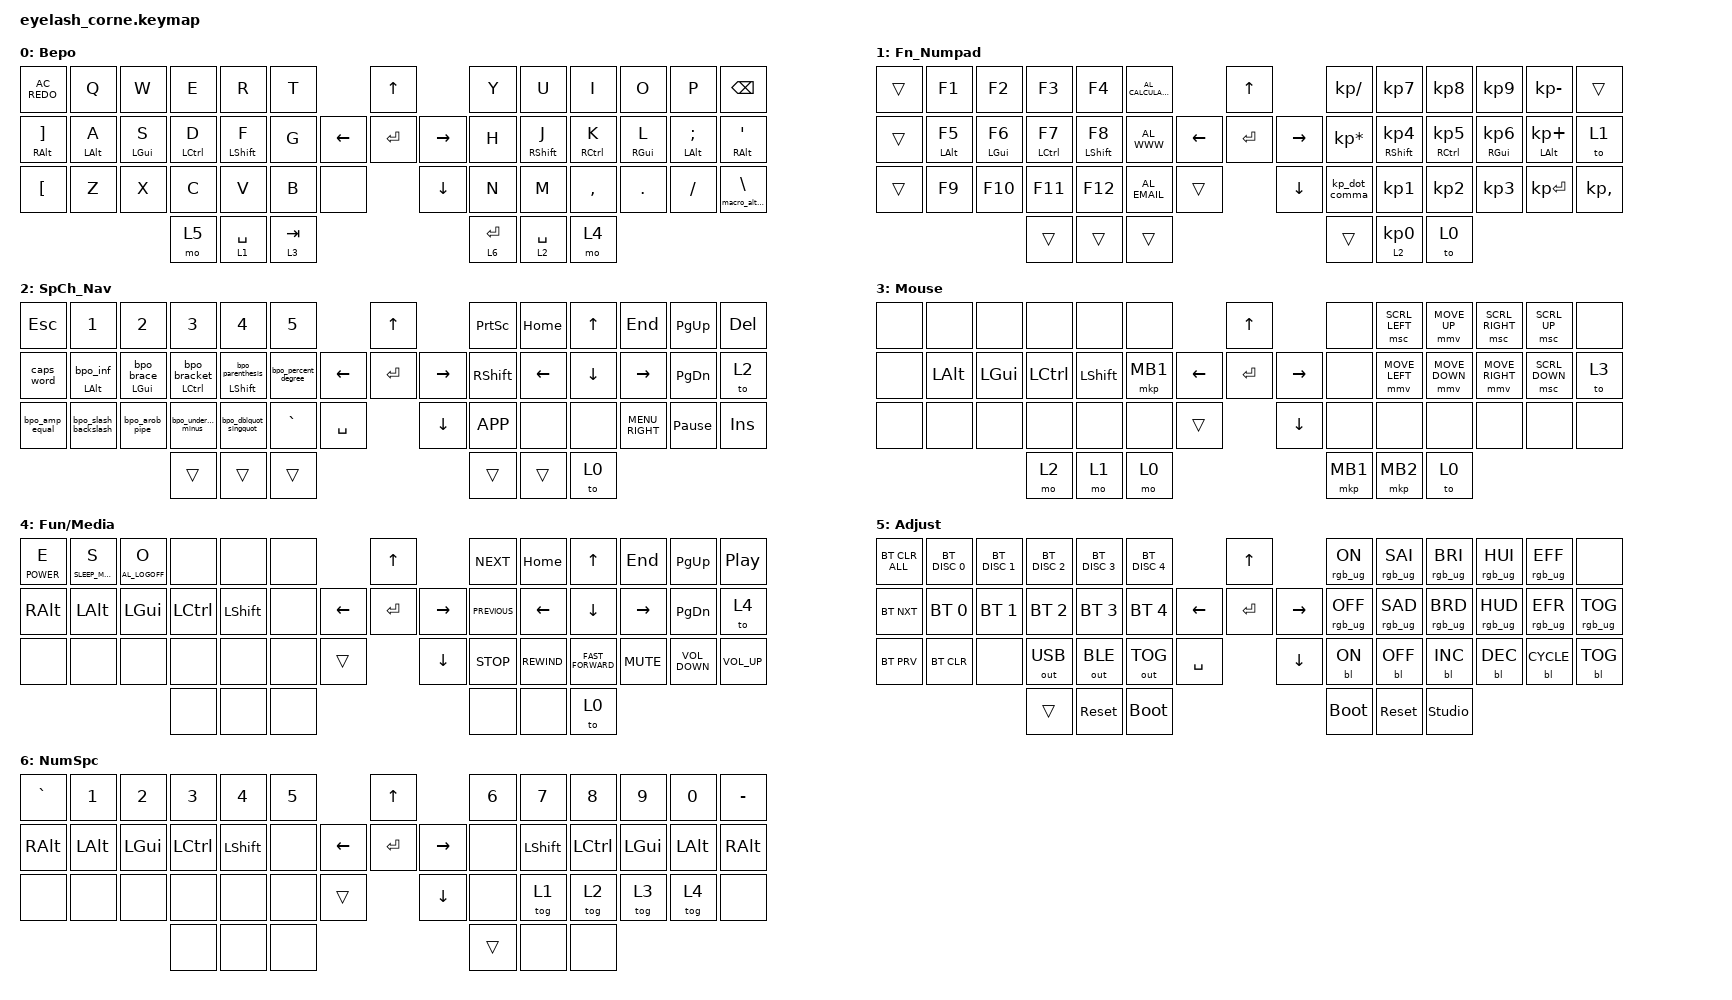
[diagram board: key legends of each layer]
// #define ZMK_POINTING_DEFAULT_MOVE_VAL 1200  // 600
// #define ZMK_POINTING_DEFAULT_SCRL_VAL 25    // 10

#define ZMK_POINTING_DEFAULT_SCRL_VAL 30    // default: 10

#include <input/processors.dtsi>
#include <zephyr/dt-bindings/input/input-event-codes.h>
#include <dt-bindings/zmk/mouse.h>
#include <behaviors.dtsi>
#include <dt-bindings/zmk/backlight.h>
#include <dt-bindings/zmk/bt.h>
#include <dt-bindings/zmk/keys.h>
#include <dt-bindings/zmk/outputs.h>
#include <dt-bindings/zmk/pointing.h>
#include <dt-bindings/zmk/rgb.h>

#define QTY_HR 0    // QWERTY w/ HRM
#define QTY 1       // QWERTY
#define CMK_HR 2    // Colemak w/ HRM
#define CMK 3       // Colemak
#define CMR 4       // Colemak Reversed
#define TRN 5       // Transparent (basic querty)
#define LOW 6       // Lower
#define RSE 7       // Raise
#define ADJ 8       // Adjust (keymap, bluetooth, output, backlight control)
#define FUN 9       // Function/Media
#define MAX 10      // Maxtend
#define MSE 11      // Mouse
#define NSP 12      // NumSpace
#define NTB 13      // NumTab (currently unused)
#define AGR 14      // AltGr (for Windows Umlauts via Alt+Numpad)
#define AGS 15      // AltGr+Shift (for Windows uppercase Umlauts via Alt+Numpad)
#define AJ2 16      // Adjust 2 = Adjust+LShift (additional control functions)

// &mmv_input_listener { input-processors = <&zip_xy_scaler 2 1>; };
// &msc_input_listener { input-processors = <&zip_scroll_scaler 2 1>; };
// &msc {
//     acceleration-exponent = <1>;      // 0
//     time-to-max-speed-ms = <100>;     // 300
//     delay-ms = <0>;                   // 0
// };
// &mmv {
//     time-to-max-speed-ms = <500>;
//     acceleration-exponent = <1>;
//     trigger-period-ms = <16>;
// };

&lt { quick-tap-ms = <200>; };

&caps_word {
    continue-list = <UNDERSCORE BACKSPACE DELETE SEMI>;

    // SEMI is added here because QWERTY semicolon is letter 'O' in Colemak. Unfortunately, it doesn't automatically get shifted.
};

&mmv {
    delay-ms = <1>;
    acceleration-exponent = <2>;
    trigger-period-ms = <2>;
};

/ {
    behaviors {
        hml: hrmod_left {
            compatible = "zmk,behavior-hold-tap";
            #binding-cells = <2>;
            tapping-term-ms = <200>;
            flavor = "balanced";
            quick-tap-ms = <200>;
            require-prior-idle-ms = <100>;
            bindings = <&kp>, <&kp>;

            hold-trigger-key-positions = <7 8 9 10 11 12 22 23 24 25 26 27 36 37 38 39 40 41 44 45 46 47>;

            // these are all the right-side buttons
            // left-side thumb button for LOW/TAB also included, allowing Alt-TAB with left hand without tapping-term-ms delay.

            hold-trigger-on-release;
        };

        hmr: hrmod_right {
            compatible = "zmk,behavior-hold-tap";
            #binding-cells = <2>;
            tapping-term-ms = <200>;
            flavor = "balanced";
            quick-tap-ms = <200>;
            require-prior-idle-ms = <100>;
            bindings = <&kp>, <&kp>;

            hold-trigger-key-positions = <0 1 2 3 4 5 13 14 15 16 17 18 28 29 30 31 32 33 42 43 44 45>;

            // these are all the left-side buttons

            hold-trigger-on-release;
        };

        hll: hrlayer_left {
            compatible = "zmk,behavior-hold-tap";
            #binding-cells = <2>;
            tapping-term-ms = <200>;
            flavor = "balanced";
            quick-tap-ms = <200>;
            require-prior-idle-ms = <100>;
            bindings = <&mo>, <&kp>;

            hold-trigger-key-positions = <7 8 9 10 11 12 22 23 24 25 26 27 36 37 38 39 40 41 44 45 46 47>;

            // these are all the right-side buttons
            // left-side thumb button for LOW/TAB also included, allowing Alt-TAB with left hand without tapping-term-ms delay.

            hold-trigger-on-release;
        };

        hlr: hrlayer_right {
            compatible = "zmk,behavior-hold-tap";
            #binding-cells = <2>;
            tapping-term-ms = <200>;
            flavor = "balanced";
            quick-tap-ms = <200>;
            require-prior-idle-ms = <100>;
            bindings = <&mo>, <&kp>;

            hold-trigger-key-positions = <0 1 2 3 4 5 13 14 15 16 17 18 28 29 30 31 32 33 42 43 44 45>;

            // these are all the left-side buttons

            hold-trigger-on-release;
        };

        kp_dot_comma: kp_dot_comma {
            compatible = "zmk,behavior-mod-morph";
            label = "KP_DOT_COMMA";
            bindings = <&kp KP_DOT>, <&kp KP_COMMA>;

            #binding-cells = <0>;
            mods = <(MOD_LSFT|MOD_RSFT)>;
        };

        bpo_inf: bpo_inf {
            compatible = "zmk,behavior-mod-morph";
            label = "BPO_INF";
            bindings = <&kp RA(NUMBER_2)>, <&kp RA(NUMBER_3)>;

            #binding-cells = <0>;
            mods = <(MOD_LSFT|MOD_RSFT)>;
        };

        bpo_brace: bpo_brace {
            compatible = "zmk,behavior-mod-morph";
            label = "BPO_BRACE";
            bindings = <&kp RA(X)>, <&kp RA(C)>;

            #binding-cells = <0>;
            mods = <(MOD_LSFT|MOD_RSFT)>;
        };

        bpo_bracket: bpo_bracket {
            compatible = "zmk,behavior-mod-morph";
            label = "BPO_BRACKET";
            bindings = <&kp RA(NUMBER_4)>, <&kp RA(N5)>;

            #binding-cells = <0>;
            mods = <(MOD_LSFT|MOD_RSFT)>;
        };

        bpo_parenthesis: bpo_parenthesis {
            compatible = "zmk,behavior-mod-morph";
            label = "BPO_PARENTHESIS";
            bindings = <&kp NUMBER_4>, <&kp N5>;

            #binding-cells = <0>;
            mods = <(MOD_LSFT|MOD_RSFT)>;
        };

        hmrl_kp_lt: hmrl_kp_lt {
            compatible = "zmk,behavior-hold-tap";
            label = "HMRL_KP_LT";
            bindings = <&kp>, <&bpo_inf>;

            #binding-cells = <2>;
            tapping-term-ms = <200>;
        };

        hmrl_kp_brace: hmrl_kp_brace {
            compatible = "zmk,behavior-hold-tap";
            label = "HMRL_KP_BRACE";
            bindings = <&kp>, <&bpo_brace>;

            #binding-cells = <2>;
            tapping-term-ms = <200>;
        };

        hmrl_kp_bracket: hmrl_kp_bracket {
            compatible = "zmk,behavior-hold-tap";
            label = "HMRL_KP_BRACKET";
            bindings = <&kp>, <&bpo_bracket>;

            #binding-cells = <2>;
            tapping-term-ms = <200>;
        };

        hmrl_kp_parenthesis: hmrl_kp_parenthesis {
            compatible = "zmk,behavior-hold-tap";
            label = "HMRL_KP_PARENTHESIS";
            bindings = <&kp>, <&bpo_parenthesis>;

            #binding-cells = <2>;
            tapping-term-ms = <200>;
        };

        bpo_amp_equal: bpo_amp_equal {
            compatible = "zmk,behavior-mod-morph";
            label = "BPO_AMP_EQUAL";
            bindings = <&kp RA(E)>, <&kp MINUS>;

            #binding-cells = <0>;
            mods = <(MOD_LSFT|MOD_RSFT)>;
        };

        bpo_slash_backslash: bpo_slash_backslash {
            compatible = "zmk,behavior-mod-morph";
            label = "BPO_SLASH_BACKSLASH";
            bindings = <&kp N9>, <&kp RA(Z)>;

            #binding-cells = <0>;
            mods = <(MOD_LSFT|MOD_RSFT)>;
        };

        bpo_arob_pipe: bpo_arob_pipe {
            compatible = "zmk,behavior-mod-morph";
            label = "BPO_AROB_PIPE";
            bindings = <&kp N6>, <&kp RA(Q)>;

            #binding-cells = <0>;
            mods = <(MOD_LSFT|MOD_RSFT)>;
        };

        bpo_underscore_minus: bpo_underscore_minus {
            compatible = "zmk,behavior-mod-morph";
            label = "BPO_UNDERSCORE_MINUS";
            bindings = <&kp RA(SPACE)>, <&kp N8>;

            #binding-cells = <0>;
            mods = <(MOD_LSFT|MOD_RSFT)>;
        };

        bpo_dblquot_singquot: bpo_dblquot_singquot {
            compatible = "zmk,behavior-mod-morph";
            label = "BPO_DBLQUOT_SINGQUOT";
            bindings = <&kp N1>, <&kp RA(G)>;

            #binding-cells = <0>;
            mods = <(MOD_LSFT|MOD_RSFT)>;
        };

        Alttab_c_cedilla: Alttab_c_cedilla {
            compatible = "zmk,behavior-hold-tap";
            label = "ALTTAB_C_CEDILLA";
            bindings = <&macro_alt_tab>, <&kp>;

            #binding-cells = <2>;
            tapping-term-ms = <200>;
        };

        bpo_percent_degree: bpo_percent_degree {
            compatible = "zmk,behavior-mod-morph";
            label = "BPO_PERCENT_DEGREE";
            bindings = <&kp EQUAL>, <&kp RS(MINUS)>;

            #binding-cells = <0>;
            mods = <(MOD_LSFT|MOD_RSFT)>;
        };
    };

    //  key positions (for hold-trigger-key-positions):
    //  (0) TAB       (1))Q     (2) W     (3) E     (4) R        (5) T                      (6) up               (7) Y          (8) U     (9) I     (10) O    (11) P     (12) BSPC
    //  (13) MAX BSPC (14) A    (15) S    (16) D    (17) F       (18) G         (19) left  (20) mid  (21) right  (22) H         (23) J     (24) K     (25) L    (26) SEMI  (27) APOS
    //  (28) LSHFT    (29) Z    (30) X    (31) C    (32) V       (33) B         (34) mute  (35) down             (36) N         (37) M     (38) COMMA (39) DOT  (40) SLASH (41) RSHFT ENTER
    //                                    (42) ADJ  (43) LOW TAB (44) MSE SPACE                                  (45) NSP SPACE (46) RSE   (47) FUN
    // &kp TAB    &kp Q  &kp W      &kp E     &kp R  &kp T                              &kp UP                &kp Y        &kp U  &kp I      &kp O    &kp P     &kp BSPC
    // &td0       &kp A  &kp S      &kp D     &kp F  &kp G                    &kp LEFT  &kp ENTER  &kp RIGHT  &kp H        &kp J  &kp K      &kp L    &kp SEMI  &kp SQT
    // &kp LCTRL  &kp Z  &kp X      &kp C     &kp V  &kp B       &kp SPACE              &kp DOWN              &kp N        &kp M  &kp COMMA  &kp DOT  &kp FSLH  &kp ESC
    //                              &kp LGUI  &mo 1  &lt 3 SPACE                                              &lt 3 ENTER  &mo 2  &kp RALT

    macros {
        macro_alt_tab: macro_alt_tab {
            compatible = "zmk,behavior-macro";
            #binding-cells = <0>;
            bindings =
                <&macro_press>,
                <&kp LALT>,
                <&macro_tap>,
                <&kp TAB>,
                <&macro_pause_for_release>,
                <&macro_release>,
                <&kp LEFT_ALT>;

            label = "MACRO_ALT_TAB";
        };
    };

    combos {
        compatible = "zmk,combos";

        combo_esc_q_w {
            require-prior-idle-ms = <100>;
            timeout-ms = <100>;
            key-positions = <1 2>;
            bindings = <&kp ESC>;
        };

        combo_enter_semi_comma {
            require-prior-idle-ms = <100>;
            timeout-ms = <100>;
            key-positions = <26 27>;
            bindings = <&kp ENTER>;
        };

        combo_enter_j_k_l {
            require-prior-idle-ms = <100>;
            timeout-ms = <100>;
            key-positions = <23 24 25>;
            bindings = <&kp ENTER>;
        };

        combo_del_p_backdel {
            bindings = <&kp DELETE>;
            key-positions = <12 11>;
        };

        combo_esc_w_e_r {
            bindings = <&kp ESC>;
            key-positions = <2 3 4>;
            timeout-ms = <100>;
            require-prior-idle-ms = <100>;
        };

        combo_esc_u_i_o {
            bindings = <&kp ESC>;
            key-positions = <8 9 10>;
            timeout-ms = <100>;
            require-prior-idle-ms = <100>;
        };

        combo_cut_z_x {
            bindings = <&kp LC(C)>;
            key-positions = <29 30>;
            timeout-ms = <100>;
            require-prior-idle-ms = <100>;
        };

        combo_copy_x_c {
            bindings = <&kp LC(H)>;
            key-positions = <30 31>;
            timeout-ms = <100>;
            require-prior-idle-ms = <100>;
        };

        combo_paste_c_v {
            bindings = <&kp LC(U)>;
            key-positions = <31 32>;
            timeout-ms = <100>;
            require-prior-idle-ms = <100>;
        };

        combo_toggleMaj_Ctrl_Esc {
            bindings = <&kp LC(CAPS)>;
            key-positions = <28 41>;
            timeout-ms = <100>;
            require-prior-idle-ms = <100>;
        };

        Reset {
            bindings = <&kp C_RESET>;
            key-positions = <0 5>;
            timeout-ms = <100>;
            require-prior-idle-ms = <100>;
            layers = <4>;
        };

        combo_enter_s_d_f {
            bindings = <&kp ENTER>;
            key-positions = <15 16 17>;
            timeout-ms = <100>;
            require-prior-idle-ms = <100>;
        };
    };

    keymap {
        compatible = "zmk,keymap";

        bepo_layer {
            display-name = "Bepo";
            bindings = <
&kp C_AC_REDO                 &kp Q        &kp W            &kp E         &kp R              &kp T                         &kp UP                &kp Y        &kp U         &kp I         &kp O             &kp P           &kp BSPC
&hml RIGHT_ALT RIGHT_BRACKET  &hml LALT A  &hml LEFT_GUI S  &hml LCTRL D  &hml LEFT_SHIFT F  &kp G               &kp LEFT  &kp ENTER  &kp RIGHT  &kp H        &hmr RSHFT J  &hmr RCTRL K  &hmr RIGHT_GUI L  &hmr LALT SEMI  &hmr RIGHT_ALT APOS
&kp LEFT_BRACKET              &kp Z        &kp X            &kp C         &kp V              &kp B      &none              &kp DOWN              &kp N        &kp M         &kp COMMA     &kp PERIOD        &kp SLASH       &Alttab_c_cedilla 0 BACKSLASH
                                                            &mo 5         &lt 1 SPACE        &lt 3 TAB                                           &lt 6 ENTER  &lt 2 SPACE   &mo 4
            >;
        };

        Function_and_numpad {
            display-name = "Fn_Numpad";
            bindings = <
&trans  &kp F1            &kp F2            &kp F3         &kp F4              &kp C_AL_CALCULATOR                      &kp UP                &kp KP_SLASH     &kp KP_N7               &kp KP_N8         &kp KP_N9             &kp KP_MINUS       &trans
&trans  &hml LEFT_ALT F5  &hml LEFT_GUI F6  &hml LCTRL F7  &hml LEFT_SHIFT F8  &kp C_AL_WWW                   &kp LEFT  &kp ENTER  &kp RIGHT  &kp KP_ASTERISK  &hmr RIGHT_SHIFT KP_N4  &hmr RCTRL KP_N5  &hmr RIGHT_GUI KP_N6  &hmr LALT KP_PLUS  &to 1
&trans  &kp F9            &kp F10           &kp F11        &kp F12             &kp C_AL_EMAIL       &trans              &kp DOWN              &kp_dot_comma    &kp KP_N1               &kp KP_N2         &kp KP_N3             &kp KP_ENTER       &kp KP_COMMA
                                            &trans         &trans              &trans                                                         &trans           &lt 2 KP_N0             &to 0
            >;
        };

        Special_char_and_nav {
            display-name = "SpCh_Nav";
            bindings = <
&kp ESC         &kp N1                  &kp N2                     &kp N3                    &kp N4                             &kp N5                                      &kp UP                &kp PRINTSCREEN  &kp HOME  &kp UP_ARROW  &kp END           &kp PAGE_UP      &kp DEL
&caps_word      &hmrl_kp_lt LEFT_ALT 0  &hmrl_kp_brace LEFT_GUI 0  &hmrl_kp_bracket LCTRL 0  &hmrl_kp_parenthesis LEFT_SHIFT 0  &bpo_percent_degree               &kp LEFT  &kp ENTER  &kp RIGHT  &kp RIGHT_SHIFT  &kp LEFT  &kp DOWN      &kp RIGHT         &kp PAGE_DOWN    &to 2
&bpo_amp_equal  &bpo_slash_backslash    &bpo_arob_pipe             &bpo_underscore_minus     &bpo_dblquot_singquot              &kp GRAVE            &kp SPACE              &kp DOWN              &kp K_APP        &none     &none         &kp C_MENU_RIGHT  &kp PAUSE_BREAK  &kp INSERT
                                                                   &trans                    &trans                             &trans                                                            &trans           &trans    &to 0
            >;
        };

        mouse_layer {
            display-name = "Mouse";
            bindings = <
&none  &none         &none         &none      &none      &none                         &kp UP                &none     &msc SCRL_LEFT  &mmv MOVE_UP    &msc SCRL_RIGHT  &msc SCRL_UP    &none
&none  &kp LEFT_ALT  &kp LEFT_GUI  &kp LCTRL  &kp LSHFT  &mkp MB1            &kp LEFT  &kp ENTER  &kp RIGHT  &none     &mmv MOVE_LEFT  &mmv MOVE_DOWN  &mmv MOVE_RIGHT  &msc SCRL_DOWN  &to 3
&none  &none         &none         &none      &none      &none     &trans              &kp DOWN              &none     &none           &none           &none            &none           &none
                                   &mo 2      &mo 1      &mo 0                                               &mkp MB1  &mkp MB2        &to 0
            >;
        };

        funmedia_layer {
            display-name = "Fun/Media";

            // &kp LC(LS(N)) will actually produce LC(LS(K)) on a Colemak host map - "raise hand" in MS Teams

            bindings = <
&mt C_POWER E  &mt C_SLEEP_MODE S  &mt C_AL_LOGOFF O  &none      &none      &none                      &kp UP                &kp C_NEXT      &kp HOME        &kp UP_ARROW        &kp END          &kp PAGE_UP        &kp C_PLAY_PAUSE
&kp RIGHT_ALT  &kp LALT            &kp LGUI           &kp LCTRL  &kp LSHFT  &none            &kp LEFT  &kp ENTER  &kp RIGHT  &kp C_PREVIOUS  &kp LEFT_ARROW  &kp DOWN_ARROW      &kp RIGHT_ARROW  &kp PAGE_DOWN      &to 4
&none          &none               &none              &none      &none      &none  &trans              &kp DOWN              &kp C_STOP      &kp C_REWIND    &kp C_FAST_FORWARD  &kp C_MUTE       &kp C_VOLUME_DOWN  &kp C_VOLUME_UP
                                                      &none      &none      &none                                            &none           &none           &to 0
            >;
        };

        adjust_layer {
            display-name = "Adjust";
            bindings = <
&bt BT_CLR_ALL  &bt BT_DISC 0  &bt BT_DISC 1  &bt BT_DISC 2  &bt BT_DISC 3  &bt BT_DISC 4                         &kp UP                &rgb_ug RGB_ON   &rgb_ug RGB_SAI  &rgb_ug RGB_BRI  &rgb_ug RGB_HUI  &rgb_ug RGB_EFF  &none
&bt BT_NXT      &bt BT_SEL 0   &bt BT_SEL 1   &bt BT_SEL 2   &bt BT_SEL 3   &bt BT_SEL 4                &kp LEFT  &kp ENTER  &kp RIGHT  &rgb_ug RGB_OFF  &rgb_ug RGB_SAD  &rgb_ug RGB_BRD  &rgb_ug RGB_HUD  &rgb_ug RGB_EFR  &rgb_ug RGB_TOG
&bt BT_PRV      &bt BT_CLR     &none          &out OUT_USB   &out OUT_BLE   &out OUT_TOG   &kp SPACE              &kp DOWN              &bl BL_ON        &bl BL_OFF       &bl BL_INC       &bl BL_DEC       &bl BL_CYCLE     &bl BL_TOG
                                              &trans         &sys_reset     &bootloader                                                 &bootloader      &sys_reset       &studio_unlock
            >;
        };

        numspace_layer {
            display-name = "NumSpc";
            bindings = <
&kp GRAVE  &kp NUMBER_1  &kp NUMBER_2  &kp NUMBER_3  &kp NUMBER_4  &kp N5                      &kp UP                &kp NUMBER_6  &kp N7     &kp N8     &kp N9    &kp N0    &kp MINUS
&kp RALT   &kp LALT      &kp LGUI      &kp LCTRL     &kp LSHFT     &none             &kp LEFT  &kp ENTER  &kp RIGHT  &none         &kp LSHFT  &kp LCTRL  &kp LGUI  &kp LALT  &kp RALT
&none      &none         &none         &none         &none         &none   &trans              &kp DOWN              &none         &tog 1     &tog 2     &tog 3    &tog 4    &none
                                       &none         &none         &none                                             &trans        &none      &none
            >;
        };

        // The following two layers generate Colemak AltGr and Colemak AltGr-Shift international characters using Windows Alt+Numpad keystrokes.
        // Each key needs to be bound to a macro that sends the Alt+Numpad scancodes. You'll need lots of macros for this.
        // At the moment, only German Umlauts äöü, shifted German Umlauts ÄÖÜ and German "scharfes S" ß have been created.
        // ß (rewritten as "sz" in ASCII) has a very special binding because it functions as a layer shift when held, but needs to call
        // the uml_sz macro when tapped.
    };
};

// / {
//     behaviors {
//         td0: td0 {
//             compatible = "zmk,behavior-tap-dance";
//             display-name = "Shift/Caps Lock Tap Dance";
//             #binding-cells = <0>;
//             bindings = <&kp LEFT_SHIFT>, <&kp CAPS>;
//         };
//     };
//     rgb_encoder: rgb_encoder {
//         compatible = "zmk,behavior-sensor-rotate";
//         #sensor-binding-cells = <0>;
//         bindings = <&rgb_ug RGB_BRI>, <&rgb_ug RGB_BRD>;
//     };
//     scroll_encoder: scroll_encoder {
//         compatible = "zmk,behavior-sensor-rotate";
//         #sensor-binding-cells = <0>;
//         bindings = <&msc SCRL_DOWN>, <&msc SCRL_UP>;
//         tap-ms = <100>;
//     };
//     keymap {
//         compatible = "zmk,keymap";
//         default_layer {
//             display-name = "QWERTY";
//             bindings = <
// &kp TAB    &kp Q  &kp W      &kp E     &kp R  &kp T                              &kp UP                &kp Y        &kp U  &kp I      &kp O    &kp P     &kp BSPC
// &td0       &kp A  &kp S      &kp D     &kp F  &kp G                    &kp LEFT  &kp ENTER  &kp RIGHT  &kp H        &kp J  &kp K      &kp L    &kp SEMI  &kp SQT
// &kp LCTRL  &kp Z  &kp X      &kp C     &kp V  &kp B       &kp SPACE              &kp DOWN              &kp N        &kp M  &kp COMMA  &kp DOT  &kp FSLH  &kp ESC
//                              &kp LGUI  &mo 1  &lt 3 SPACE                                              &lt 3 ENTER  &mo 2  &kp RALT
//             >;
//             sensor-bindings = <&inc_dec_kp C_VOLUME_UP C_VOLUME_DOWN>;
//         };
//         lower_layer {
//             display-name = "NUMBER";
//             bindings = <
// &trans  &kp N1           &kp N2          &kp N3        &kp N4        &kp N5                                        &mmv MOVE_UP                     &kp N6           &kp N7           &kp N8           &kp N9           &kp N0    &kp BSPC
// &trans  &bt BT_CLR_ALL   &bt BT_SEL 0    &bt BT_SEL 1  &bt BT_SEL 2  &bt BT_SEL 3                           &mmv MOVE_LEFT  &mkp LCLK       &mmv MOVE_RIGHT  &kp LEFT         &kp DOWN         &kp UP           &kp RIGHT        &kp HOME  &kp PG_UP
// &trans  &rgb_ug RGB_OFF  &rgb_ug RGB_ON  &trans        &trans        &rgb_ug RGB_EFF &kp C_MUTE                    &mmv MOVE_DOWN                   &rgb_ug RGB_EFR  &rgb_ug RGB_SPI  &rgb_ug RGB_BRI  &rgb_ug RGB_BRD  &kp END   &kp PG_DN
//                                          &trans        &trans        &trans                                                                         &kp INS          &kp DEL          &trans
//             >;
//             sensor-bindings = <&scroll_encoder>;
//         };
//         raise_layer {
//             display-name = "SYMBOL";
//             bindings = <
// &trans  &kp EXCL      &kp AT        &kp HASH   &kp DLLR   &kp PRCNT                           &mmv MOVE_UP                     &kp CARET  &kp AMPS   &kp ASTRK  &kp LPAR  &kp RPAR  &kp BSPC
// &trans  &bt BT_CLR    &mkp LCLK     &mkp MCLK  &mkp RCLK  &mkp MB4            &mmv MOVE_LEFT  &mkp LCLK       &mmv MOVE_RIGHT  &kp MINUS  &kp EQUAL  &kp LBKT   &kp RBKT  &kp BSLH  &kp GRAVE
// &trans  &out OUT_USB  &out OUT_BLE  &none      &none      &mkp MB5  &trans                    &mmv MOVE_DOWN                   &kp UNDER  &kp PLUS   &kp LBRC   &kp RBRC  &kp PIPE  &kp TILDE
//                                     &trans     &trans     &kp SPACE                                                            &kp RET    &trans     &trans
//             >;
//             sensor-bindings = <&scroll_encoder>;
//         };
//         layer_3 {
//             display-name = "Fn";
//             bindings = <
// &studio_unlock   &kp F1      &kp F2      &kp F3       &kp F4     &kp F5                                  &mmv MOVE_UP                     &kp F6       &kp F7     &kp F8       &kp F9      &kp F10          &kp F11
// &trans  &trans      &mkp LCLK   &mkp MCLK    &mkp RCLK  &mkp MB4                &mmv MOVE_LEFT  &mkp LCLK       &mmv MOVE_RIGHT  &bootloader  &mkp LCLK  &mkp MCLK    &mkp RCLK   &kp PRINTSCREEN  &kp F12
// &trans  &sys_reset  &trans      &bootloader  &trans     &mkp MB5  &kp C_MUTE                    &mmv MOVE_DOWN                   &trans       &trans     &bootloader  &sys_reset  &kp SCROLLLOCK   &kp PAUSE_BREAK
//                                 &trans      &trans      &trans                                                                   &trans       &trans     &trans
//             >;
//             sensor-bindings = <&scroll_encoder>;
//         };
//     };
// };
